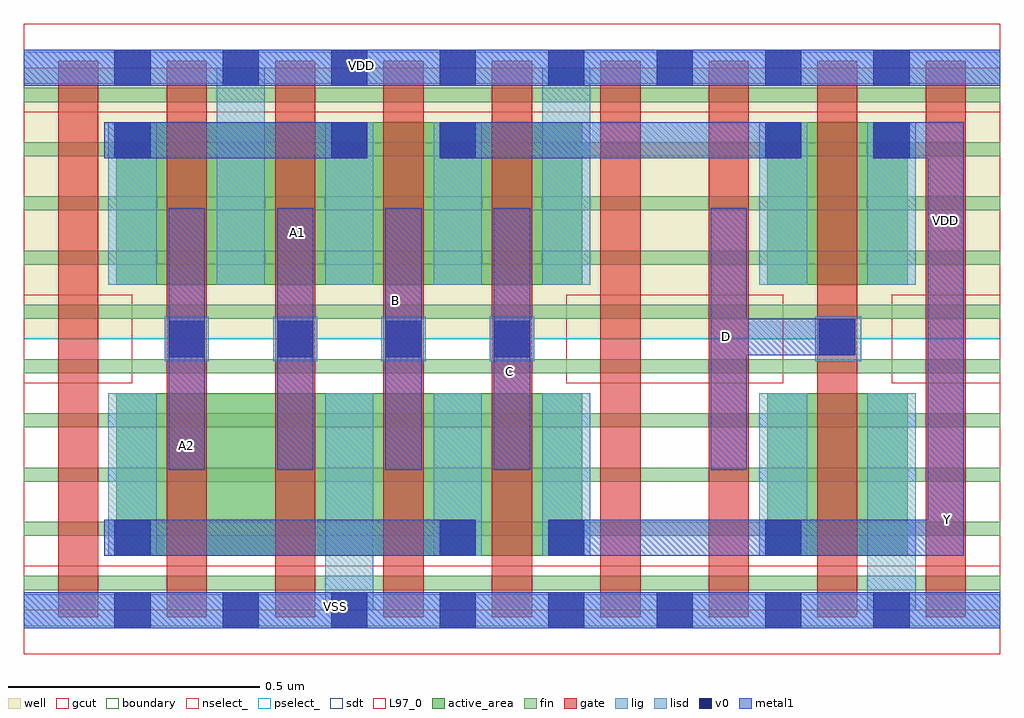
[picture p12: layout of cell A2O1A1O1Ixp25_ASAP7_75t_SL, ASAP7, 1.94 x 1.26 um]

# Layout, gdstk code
import gdstk
lib = gdstk.Library(unit=1e-6, precision=2.5e-10)
def R(c, l, rs):  # rectangles x0, y0, x1, y1
    for r in rs: c.add(gdstk.rectangle(r[:2], r[2:], *l))
def A(c, l, x, y, w, h, nx, ny, dx, dy):  # array of equal rectangles
    R(c, l, [(x+i*dx, y+j*dy, x+i*dx+w, y+j*dy+h) for i in range(nx) for j in range(ny)])
def P(c, l, *ps):  # polygons
    for p in ps: c.add(gdstk.Polygon(p, *l))
well = (1, 0)
fin = (2, 0)
gate = (7, 0)
gcut = (10, 0)
active_area = (11, 0)
nselect_ = (12, 0)
pselect_ = (13, 0)
lig = (16, 0)
lisd = (17, 0)
v0 = (18, 0)
metal1 = (19, 0)
sdt = (88, 0)
L97_0 = (97, 0)
boundary = (100, 0)

a2o1a1o1ixp25_asap7_75t_ = lib.new_cell('A2O1A1O1Ixp25_ASAP7_75t_SL')
R(a2o1a1o1ixp25_asap7_75t_, well, [(0,0.54,1.944,1.08)])
A(a2o1a1o1ixp25_asap7_75t_, fin, 0, 0.04, 1.944, 0.028, 1, 10, 0, 0.108)
A(a2o1a1o1ixp25_asap7_75t_, gate, 0.068, -0.014, 0.08, 1.108, 9, 1, 0.216, 0)
R(a2o1a1o1ixp25_asap7_75t_, gcut, [(0,-0.088,1.944,0.088), (0,0.452,0.216,0.628), (1.08,0.452,1.512,0.628), (1.728,0.452,1.944,0.628), (0,0.992,1.944,1.168)])
R(a2o1a1o1ixp25_asap7_75t_, active_area, [(0.184,0.108,1.112,0.432), (1.48,0.108,1.76,0.432), (0.184,0.648,1.112,0.972), (1.48,0.648,1.76,0.972)])
R(a2o1a1o1ixp25_asap7_75t_, nselect_, [(0,0,1.944,0.54)])
R(a2o1a1o1ixp25_asap7_75t_, pselect_, [(0,0.54,1.944,1.08)])
A(a2o1a1o1ixp25_asap7_75t_, lig, 0.28, 0.496, 0.088, 0.088, 4, 1, 0.216, 0)
R(a2o1a1o1ixp25_asap7_75t_, lig, [(0,-0.032,1.944,0.032), (1.576,0.496,1.668,0.584), (0,1.048,1.944,1.112)])
R(a2o1a1o1ixp25_asap7_75t_, lisd, [(0.6,0,0.696,0.432), (1.68,0,1.776,0.432), (0.168,0.108,0.264,0.432), (0.816,0.108,0.912,0.432), (1.032,0.108,1.128,0.432), (1.464,0.108,1.56,0.432), (0.168,0.648,0.264,0.972), (0.384,0.648,0.48,1.08), (0.6,0.648,0.696,0.972), (0.816,0.648,0.912,0.972), (1.032,0.648,1.128,1.08), (1.464,0.648,1.56,0.972), (1.68,0.648,1.776,0.972)])
A(a2o1a1o1ixp25_asap7_75t_, v0, 0.18, -0.036, 0.072, 0.072, 8, 2, 0.216, 1.08)
A(a2o1a1o1ixp25_asap7_75t_, v0, 0.288, 0.504, 0.072, 0.072, 4, 1, 0.216, 0)
R(a2o1a1o1ixp25_asap7_75t_, v0, [(0.18,0.108,0.252,0.18), (0.828,0.108,0.9,0.18), (1.044,0.108,1.116,0.18), (1.476,0.108,1.548,0.18), (1.584,0.508,1.656,0.58), (0.18,0.9,0.252,0.972), (0.612,0.9,0.684,0.972), (0.828,0.9,0.9,0.972), (1.476,0.9,1.548,0.972), (1.692,0.9,1.764,0.972)])
A(a2o1a1o1ixp25_asap7_75t_, metal1, 0.288, 0.28, 0.072, 0.52, 4, 1, 0.216, 0)
R(a2o1a1o1ixp25_asap7_75t_, metal1, [(0,-0.036,1.944,0.036), (0.16,0.108,0.9,0.18), (0.72,0.424,0.792,0.8), (0.16,0.9,0.684,0.972), (0.828,0.9,1.548,0.972), (0,1.044,1.944,1.116)])
P(a2o1a1o1ixp25_asap7_75t_, metal1, [(1.872,0.972),(1.692,0.972),(1.692,0.9),(1.8,0.9),(1.8,0.18),(1.044,0.18),(1.044,0.108),(1.872,0.108)],
  [(1.656,0.58),(1.44,0.58),(1.44,0.8),(1.368,0.8),(1.368,0.28),(1.44,0.28),(1.44,0.508),(1.656,0.508)])
A(a2o1a1o1ixp25_asap7_75t_, sdt, 0.6, 0.108, 0.096, 0.324, 3, 1, 0.216, 0)
A(a2o1a1o1ixp25_asap7_75t_, sdt, 0.168, 0.648, 0.096, 0.324, 5, 1, 0.216, 0)
R(a2o1a1o1ixp25_asap7_75t_, sdt, [(0.168,0.108,0.264,0.432), (1.464,0.108,1.56,0.432), (1.68,0.108,1.776,0.432), (1.464,0.648,1.56,0.972), (1.68,0.648,1.776,0.972)])
R(a2o1a1o1ixp25_asap7_75t_, L97_0, [(0,0,1.944,1.08)])
R(a2o1a1o1ixp25_asap7_75t_, boundary, [(0,0,1.944,1.08)])
a2o1a1o1ixp25_asap7_75t_.add(gdstk.Label('VSS', (0.62,0.008), layer=19, texttype=251))
a2o1a1o1ixp25_asap7_75t_.add(gdstk.Label('VDD', (0.672,1.084), layer=19, texttype=251))
a2o1a1o1ixp25_asap7_75t_.add(gdstk.Label('VSS', (0.62,0.008), layer=19, texttype=251))
a2o1a1o1ixp25_asap7_75t_.add(gdstk.Label('D', (1.4,0.544), layer=19, texttype=251))
a2o1a1o1ixp25_asap7_75t_.add(gdstk.Label('C', (0.968,0.476), layer=19, texttype=251))
a2o1a1o1ixp25_asap7_75t_.add(gdstk.Label('B', (0.74,0.616), layer=19, texttype=251))
a2o1a1o1ixp25_asap7_75t_.add(gdstk.Label('A1', (0.544,0.752), layer=19, texttype=251))
a2o1a1o1ixp25_asap7_75t_.add(gdstk.Label('A2', (0.324,0.328), layer=19, texttype=251))
a2o1a1o1ixp25_asap7_75t_.add(gdstk.Label('Y', (1.84,0.18), layer=19, texttype=251))
a2o1a1o1ixp25_asap7_75t_.add(gdstk.Label('VDD', (1.836,0.776), layer=1, texttype=251))
a2o1a1o1ixp25_asap7_75t_.add(gdstk.Label('VSS', (2.112,0.772), layer=3, texttype=251))

lib.write_gds('A2O1A1O1Ixp25_ASAP7_75t_SL.gds')
